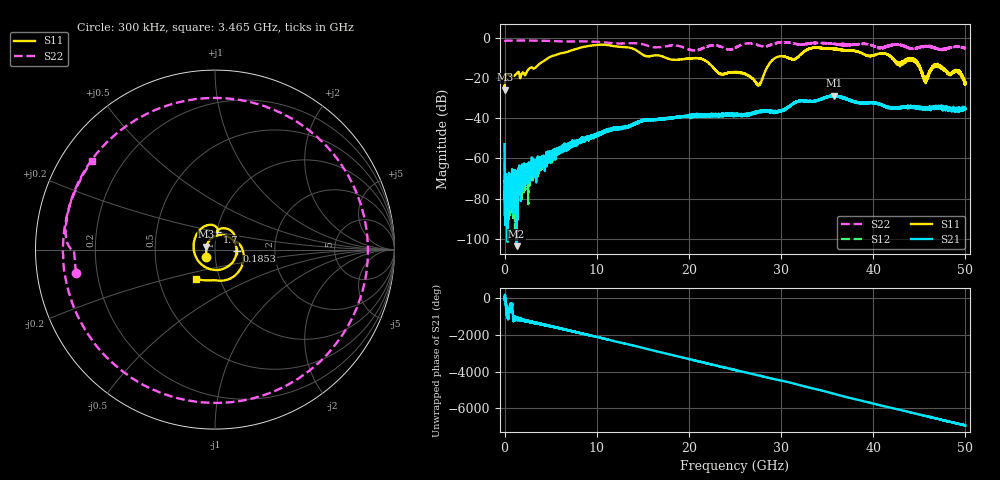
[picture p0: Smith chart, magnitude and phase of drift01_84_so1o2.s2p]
!Created with skrf (http://scikit-rf.org).
# Hz S RI R 50.0
!freq ReS11 ImS11 ReS21 ImS21 ReS12 ImS12 ReS22 ImS22
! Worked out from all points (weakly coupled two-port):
!   10001 points, 300 kHz to 50 GHz, reference 50 ohm
!   highest |S21| = -28.76 dB at 35.74 GHz (marker M1); lowest = -103.7 dB at 1.3 GHz (marker M2)
!   lowest |S11| = -25.8 dB at 5.3 MHz (marker M3), VSWR 1.11, Z = 45.3 + j1.41 ohm
!   |S11| at or under -10 dB: start of sweep to 4.765 GHz; 17.52 GHz to 29.37 GHz (11.85 GHz wide, 50.6 % of centre); 42.05 GHz to end of sweep (the widest 3 of 7)
!   |S22| runs from -6.4 to -1.4 dB; largest |S21 - S12| = 0.0044
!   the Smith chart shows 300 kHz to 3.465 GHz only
!   S11 on the Smith chart (normalised r, x): 300 kHz: 0.91, -0.07; 185.3 MHz: 1.27, -0.02; 1.7 GHz: 1.00, +0.20; 3.465 GHz: 0.77, -0.26
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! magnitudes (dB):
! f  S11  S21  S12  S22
! 300 kHz  -24.0  -52.9  -61.8  -2.1
! 5.3 MHz  -25.8  -72.5  -74.3  -2.1
! 185.3 MHz  -18.4  -77.8  -74.6  -1.4
! 255.3 MHz  -18.3  -79.5  -74.2  -1.4
! 1.3 GHz  -17.9  -103.7  -67.8  -1.4
! 1.7 GHz  -20.1  -70.4  -66.3  -1.4
! 3.465 GHz  -14.3  -62.5  -62.5  -1.5
! 8.335 GHz  -4.8  -51.2  -51.3  -1.8
! 16.67 GHz  -8.8  -40.7  -40.8  -4.8
! 25 GHz  -17.0  -38.3  -38.5  -5.0
! 27.59 GHz  -23.4  -36.9  -36.7  -3.8
! 29.28 GHz  -10.3  -36.7  -36.7  -2.9
! 31.47 GHz  -10.7  -32.4  -32.3  -2.9
! 33.34 GHz  -5.1  -31.7  -31.6  -2.7
! 35.74 GHz  -5.5  -28.8  -29.0  -3.2
! 41.67 GHz  -8.6  -34.4  -34.7  -4.0
! 42.83 GHz  -12.9  -35.0  -34.7  -3.5
! 44.44 GHz  -11.2  -34.5  -34.7  -5.5
! 45.63 GHz  -20.8  -35.2  -35.4  -4.2
! 46.93 GHz  -13.5  -34.8  -34.4  -5.5
! 49.26 GHz  -16.8  -36.0  -36.4  -4.6
! 50 GHz  -22.3  -35.5  -35.0  -5.2
